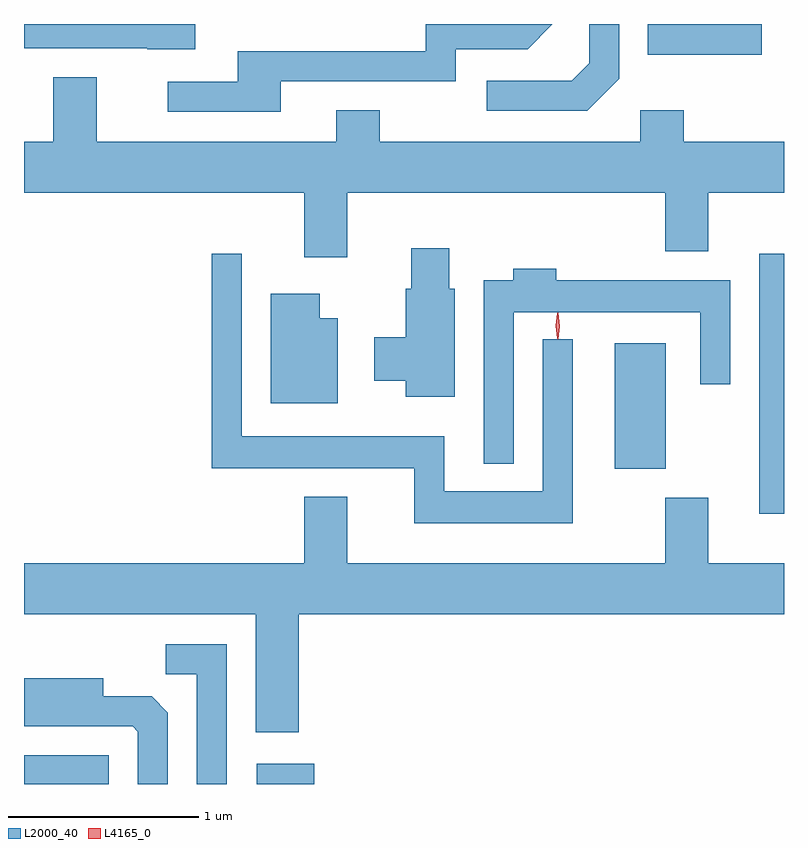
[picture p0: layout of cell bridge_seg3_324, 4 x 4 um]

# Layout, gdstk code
import gdstk
lib = gdstk.Library(unit=1e-6, precision=1e-09)
def R(c, l, rs):  # rectangles x0, y0, x1, y1
    for r in rs: c.add(gdstk.rectangle(r[:2], r[2:], *l))
def P(c, l, *ps):  # polygons
    for p in ps: c.add(gdstk.Polygon(p, *l))
L2000_40 = (2000, 40)
L4165_0 = (4165, 0)

bridge_seg3_324 = lib.new_cell('bridge_seg3_324')
R(bridge_seg3_324, L2000_40, [(527.017,1149.543,527.464,1149.694), (528.241,1149.543,528.544,1149.649), (530.886,1150.966,531.017,1152.333), (530.126,1151.201,530.394,1151.864), (530.301,1153.381,530.899,1153.543)])
P(bridge_seg3_324, L2000_40, [(528.369,1153.241),(529.289,1153.241),(529.289,1153.411),(529.667,1153.411),(529.798,1153.543),(529.131,1153.543),(529.131,1153.399),(528.141,1153.399),(528.141,1153.239),(527.773,1153.239),(527.773,1153.081),(528.369,1153.081)],
  [(527.919,1153.543),(527.017,1153.543),(527.017,1153.416),(527.665,1153.416),(527.665,1153.411),(527.919,1153.411)],
  [(530.149,1153.254),(530.149,1153.543),(529.991,1153.543),(529.991,1153.337),(529.899,1153.244),(529.453,1153.244),(529.453,1153.086),(529.982,1153.086)],
  [(528.719,1152.656),(530.391,1152.656),(530.391,1152.346),(530.619,1152.346),(530.619,1152.656),(531.017,1152.656),(531.017,1152.924),(530.489,1152.924),(530.489,1153.089),(530.261,1153.089),(530.261,1152.924),(528.889,1152.924),(528.889,1153.089),(528.661,1153.089),(528.661,1152.924),(527.399,1152.924),(527.399,1153.264),(527.171,1153.264),(527.171,1152.924),(527.017,1152.924),(527.017,1152.656),(528.491,1152.656),(528.491,1152.316),(528.719,1152.316)],
  [(529.284,1152.149),(529.254,1152.149),(529.254,1152.364),(529.056,1152.364),(529.056,1152.149),(529.026,1152.149),(529.026,1151.894),(528.861,1151.894),(528.861,1151.666),(529.026,1151.666),(529.026,1151.581),(529.284,1151.581)],
  [(529.904,1151.883),(529.746,1151.883),(529.746,1151.084),(529.229,1151.084),(529.229,1151.374),(528.164,1151.374),(528.164,1152.333),(528.006,1152.333),(528.006,1151.206),(529.071,1151.206),(529.071,1150.916),(529.904,1150.916)],
  [(529.594,1152.026),(530.576,1152.026),(530.576,1151.648),(530.734,1151.648),(530.734,1152.194),(529.819,1152.194),(529.819,1152.254),(529.591,1152.254),(529.591,1152.194),(529.436,1152.194),(529.436,1151.228),(529.594,1151.228)],
  [(528.669,1151.994),(528.574,1151.994),(528.574,1152.124),(528.316,1152.124),(528.316,1151.546),(528.669,1151.546)],
  [(528.464,1150.436),(531.017,1150.436),(531.017,1150.704),(530.619,1150.704),(530.619,1151.049),(530.391,1151.049),(530.391,1150.704),(528.719,1150.704),(528.719,1151.054),(528.491,1151.054),(528.491,1150.704),(527.017,1150.704),(527.017,1150.436),(528.236,1150.436),(528.236,1149.816),(528.464,1149.816)],
  [(528.084,1150.279),(527.763,1150.279),(527.763,1150.121),(527.926,1150.121),(527.926,1149.543),(528.084,1149.543)],
  [(527.774,1149.919),(527.689,1150.004),(527.434,1150.004),(527.434,1150.099),(527.017,1150.099),(527.017,1149.846),(527.589,1149.846),(527.616,1149.819),(527.616,1149.543),(527.774,1149.543)])
P(bridge_seg3_324, L4165_0, [(529.825,1151.887),(529.824,1151.888),(529.815,1151.954),(529.824,1152.02),(529.825,1152.021),(529.826,1152.02),(529.835,1151.954),(529.826,1151.888)],
  [(529.828,1151.883),(529.827,1151.884),(529.818,1151.953),(529.827,1152.022),(529.828,1152.023),(529.828,1152.022),(529.838,1151.953),(529.828,1151.884)])

lib.write_gds('bridge_seg3_324.gds')
